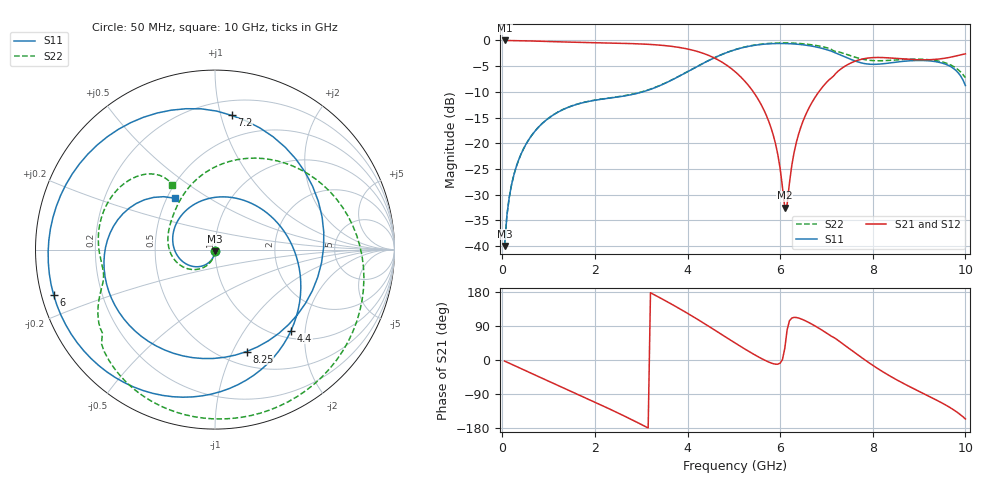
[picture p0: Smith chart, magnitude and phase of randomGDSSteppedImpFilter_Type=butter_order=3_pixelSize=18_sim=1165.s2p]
! freq	dB(S11)	phase(S11)	dB(S12)	phase(S12)
!  dB(S21)	phase(S21)	dB(S22)	phase(S22)
!S-par simulation data
#  GHz  S  DB  R 50
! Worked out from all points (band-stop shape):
!   200 points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, 50 MHz to 10 GHz, reference 50 ohm
!   highest |S21| = -0.01 dB at 50 MHz (marker M1); lowest = -32.6 dB at 6.1 GHz (marker M2)
!   |S21| within 3 dB of the highest: start of sweep to 4.48 GHz; 9.807 GHz to end of sweep
!   lowest |S11| = -40.0 dB at 50 MHz (marker M3), VSWR 1.02, Z = 49.9 - j1 ohm
!   |S11| at or under -10 dB: start of sweep to 3.034 GHz
!   |S22| runs from -40.0 to -0.5 dB; largest |S21 - S12| = 0
!   S11 on the Smith chart (normalised r, x): 50 MHz: 1.00, -0.02; 4.4 GHz: 1.15, -1.68; 6 GHz: 0.03, -0.14; 7.2 GHz: 0.31, +1.08; 8.25 GHz: 0.64, -1.13; 10 GHz: 0.55, +0.36
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0.05  -39.97 -92.4  -0.01 -2.9  -0.01 -2.9  -40.03 -90.5
0.2  -28.07 -102.1  -0.03 -11.3  -0.03 -11.3  -28.06 -100.3
0.5  -20.38 -120.9  -0.08 -28.1  -0.08 -28.1  -20.37 -116.1
1.15  -14.22 -161.0  -0.25 -64.1  -0.25 -64.1  -14.20 -148.5
1.75  -12.09 160.1  -0.40 -97.2  -0.40 -97.2  -12.07 -176.1
2.7  -10.70 89.2  -0.59 -151.7  -0.59 -151.7  -10.65 145.7
3.4  -8.81 30.7  -0.91 164.5  -0.91 164.5  -8.76 116.2
3.95  -6.33 -13.0  -1.57 126.8  -1.57 126.8  -6.31 84.2
4.4  -4.16 -46.8  -2.71 93.4  -2.71 93.4  -4.15 51.0
5.05  -1.75 -95.0  -6.26 43.1  -6.26 43.1  -1.72 -2.6
5.65  -0.73 -138.7  -13.55 0.5  -13.55 0.5  -0.66 -49.9
6  -0.59 -164.2  -24.95 -8.3  -24.95 -8.3  -0.49 -74.5
6.1  -0.60 -171.7  -32.56 30.8  -32.56 30.8  -0.48 -81.2
6.35  -0.72 168.8  -19.83 112.1  -19.83 112.1  -0.55 -97.1
6.7  -1.13 138.4  -11.86 93.6  -11.86 93.6  -0.87 -117.9
7.2  -2.46 83.0  -6.43 56.3  -6.43 56.3  -2.15 -143.5
7.7  -4.24 9.1  -3.79 11.6  -3.79 11.6  -3.47 -160.9
8.25  -4.51 -72.8  -3.35 -33.5  -3.35 -33.5  -3.93 -172.8
8.35  -4.40 -85.0  -3.40 -40.8  -3.40 -40.8  -3.88 -175.4
9.25  -4.00 -166.1  -3.74 -98.0  -3.74 -98.0  -3.79 152.4
9.65  -4.94 162.9  -3.31 -124.2  -3.31 -124.2  -4.64 135.0
10  -8.77 128.2  -2.62 -155.5  -2.62 -155.5  -7.24 123.6
